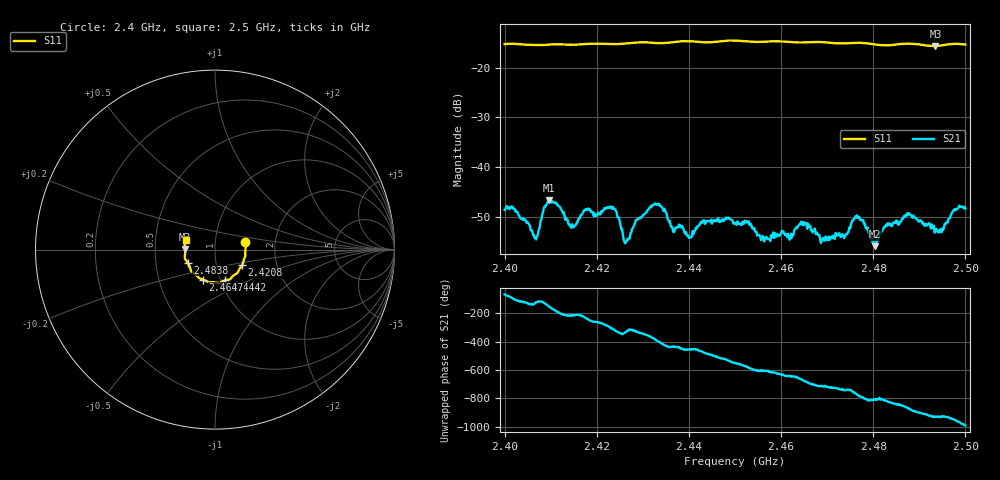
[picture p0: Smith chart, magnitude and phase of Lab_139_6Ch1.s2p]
# Hz S RI R 50
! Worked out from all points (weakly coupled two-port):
!   601 points, 2.4 GHz to 2.5 GHz, reference 50 ohm
!   highest |S21| = -46.67 dB at 2.4097 GHz (marker M1); lowest = -55.9 dB at 2.4803 GHz (marker M2)
!   lowest |S11| = -15.6 dB at 2.4935 GHz (marker M3), VSWR 1.40, Z = 35.8 + j0.213 ohm
!   |S11| at or under -10 dB: start of sweep to end of sweep
!   S12 and S22 are empty: the file has one direction only
!   S11 on the Smith chart (normalised r, x): 2.4 GHz: 1.40, +0.12; 2.4208 GHz: 1.33, -0.24; 2.4442 GHz: 1.05, -0.37; 2.4647 GHz: 0.83, -0.29; 2.4838 GHz: 0.73, -0.11; 2.5 GHz: 0.72, +0.08
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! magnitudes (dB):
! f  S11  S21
! 2.4 GHz  -15.2  -48.6
! 2.4067 GHz  -15.4  -54.1
! 2.4097 GHz  -15.3  -46.7
! 2.4145 GHz  -15.4  -52.2
! 2.4167 GHz  -15.3  -49.7
! 2.4208 GHz  -15.2  -49.5
! 2.4238 GHz  -15.2  -48.4
! 2.4263 GHz  -15.1  -55.1
! 2.4333 GHz  -15.0  -47.4
! 2.44 GHz  -14.6  -54.2
! 2.4442 GHz  -14.9  -50.8
! 2.45 GHz  -14.5  -51.3
! 2.4572 GHz  -14.7  -54.4
! 2.4647 GHz  -14.9  -51.7
! 2.4667 GHz  -14.8  -52.8
! 2.4735 GHz  -15.1  -53.8
! 2.4765 GHz  -15.0  -49.7
! 2.4803 GHz  -15.3  -55.9
! 2.4833 GHz  -15.5  -51.4
! 2.4838 GHz  -15.4  -51.8
! 2.4935 GHz  -15.6  -52.6
! 2.5 GHz  -15.3  -48.3
